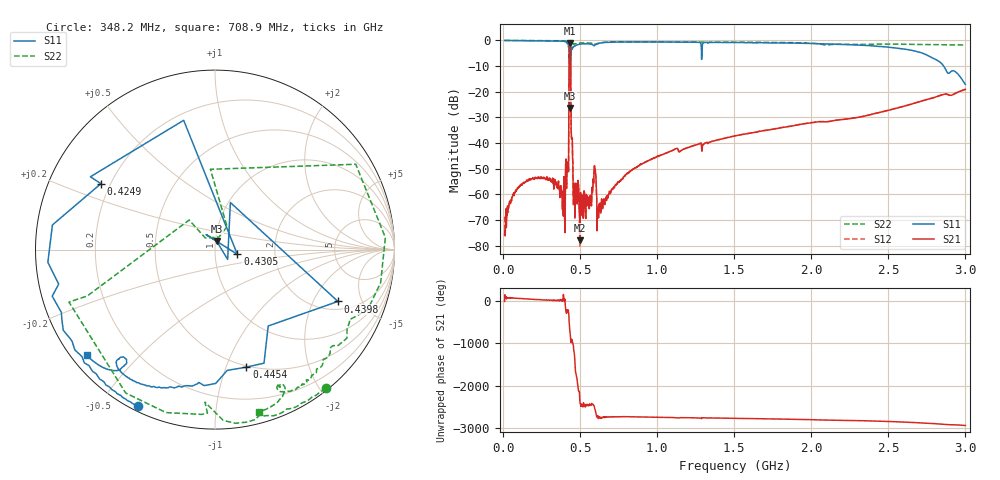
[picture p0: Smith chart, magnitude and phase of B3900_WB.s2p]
! Matrix data file written by TouchstoneData, EPCOS AG
! FILENAME: "B3900_WB.s2p"
! COMMENT: "NWA-Port1 : 98.0ps NWA-Port2 : 98.0ps PCB2031"
! INFO: nport=2, nfreq=1601
! DATE: "Thu Nov 1 2012"
! USER: "Hiroshi Tanaka"
! port | pin | signal
!  1  |  2  |  in
!  2  |  5  |  out
# MHZ S MA R 50
! freq  magS11 angS11  magS21 angS21  magS12 angS12  magS22 angS22
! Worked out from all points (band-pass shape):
!   1601 points, 10 MHz to 3 GHz, reference 50 ohm
!   highest |S21| = -1.15 dB at 434.2 MHz (marker M1); lowest = -77.9 dB at 497.7 MHz (marker M2)
!   |S21| within 3 dB of the highest: 429.8 MHz to 437.9 MHz (8.141 MHz wide, 1.88 % of centre)
!   lowest |S11| = -26.3 dB at 434.2 MHz (marker M3), VSWR 1.10, Z = 50.6 + j4.85 ohm
!   |S11| at or under -10 dB: 429.5 MHz to 438.2 MHz (8.697 MHz wide, 2 % of centre); 2.859 GHz to end of sweep
!   |S22| runs from -22.7 to 0.0 dB; largest |S21 - S12| = 0.005
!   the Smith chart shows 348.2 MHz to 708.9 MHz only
!   S11 on the Smith chart (normalised r, x): 348.2 MHz: 0.02, -0.62; 424.9 MHz: 0.16, +0.26; 430.5 MHz: 1.28, -0.07; 439.8 MHz: 2.45, -3.16; 445.4 MHz: 0.49, -1.18; 708.9 MHz: 0.04, -0.36
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10  0.9986 -5.4  0.0001652 -9.5  0.0003701 2.9  0.9989 -2.2
120.2562  0.9926 -48.6  0.001529 55.4  0.001541 55.5  0.9958 -16.9
348.2437  0.9727 -116.1  0.001364 11.9  0.001415 11.4  0.9868 -51.3
398.7  0.9537 -137.4  0.0006226 -1.4  0.000633 -4.0  0.9816 -67.6
411.7812  0.9574 -152.0  0.001294 66.3  0.001333 64.5  0.9777 -79.4
424.8625  0.7342 150.0  0.002772 84.5  0.002798 85.2  0.9412 -121.9
430.4688  0.1274 -12.0  0.8189 136.6  0.8236 136.6  0.2188 131.1
434.2063  0.04852 79.8  0.8763 -10.2  0.8812 -10.2  0.07317 72.6
439.8125  0.7434 -22.9  0.1378 107.1  0.1385 107.1  0.9173 31.2
445.4187  0.6777 -75.0  0.01188 163.4  0.01203 163.4  0.9141 -21.5
454.7625  0.7601 -94.6  0.001054 53.5  0.00103 52.0  0.8698 -37.9
465.975  0.7877 -103.6  0.0003597 -1.1  0.0003415 1.9  0.8686 -43.6
497.7437  0.8425 -115.5  0.000128 -179.9  9.77e-05 171.9  0.884 -52.5
508.9563  0.853 -118.4  0.0006574 88.7  0.0006783 88.5  0.8921 -54.5
591.1812  0.786 -128.8  0.003256 39.3  0.003283 39.1  0.8315 -65.0
624.8188  0.8825 -130.3  0.0005375 141.7  0.0005763 137.5  0.8953 -65.0
708.9125  0.9265 -140.5  0.00124 142.3  0.001253 141.7  0.9376 -74.9
1007.913  0.9335 -161.5  0.005466 132.6  0.005526 132.5  0.9403 -100.8
1505  0.9142 174.3  0.01374 108.2  0.01379 107.8  0.9258 -132.0
2003.956  0.8722 146.9  0.02496 75.8  0.02506 75.7  0.8849 -164.9
2502.912  0.7391 103.5  0.04368 33.3  0.04372 33.4  0.8486 163.4
3000  0.1393 -19.0  0.1115 -60.3  0.1116 -60.4  0.8146 118.7
